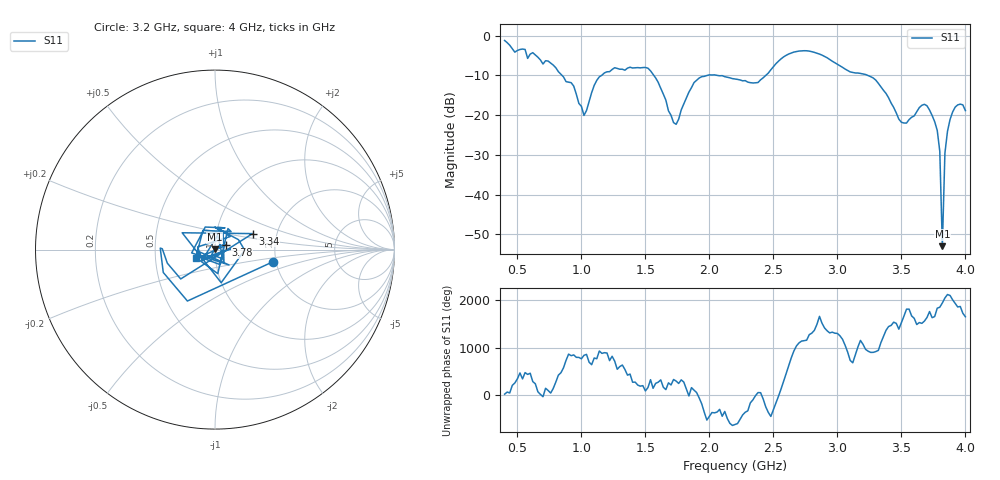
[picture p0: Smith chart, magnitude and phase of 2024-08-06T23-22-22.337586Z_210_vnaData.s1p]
!Created with skrf (http://scikit-rf.org).
# Hz S RI R 50.0
!freq ReS11 ImS11
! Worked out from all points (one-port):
!   181 points, 400 MHz to 4 GHz, reference 50 ohm
!   lowest |S11| = -53.0 dB at 3.82 GHz (marker M1), VSWR 1.00, Z = 49.9 + j0.168 ohm
!   |S11| at or under -10 dB: 1.566 GHz to 1.982 GHz (416.1 MHz wide, 23.5 % of centre); 2.063 GHz to 2.441 GHz (377.6 MHz wide, 16.8 % of centre); 3.238 GHz to end of sweep (the widest 3 of 4)
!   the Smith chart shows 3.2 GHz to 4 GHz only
!   S11 on the Smith chart (normalised r, x): 3.2 GHz: 1.92, -0.29; 3.34 GHz: 1.50, +0.28; 3.78 GHz: 1.13, +0.06; 4 GHz: 0.81, -0.07
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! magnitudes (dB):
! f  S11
! 400 MHz  -1.2
! 860 MHz  -10.4
! 940 MHz  -12.7
! 1.02 GHz  -20.1
! 1.14 GHz  -10.4
! 1.3 GHz  -8.4
! 1.52 GHz  -8.2
! 1.6 GHz  -11.7
! 1.72 GHz  -21.9
! 1.76 GHz  -21.0
! 1.92 GHz  -10.7
! 2.2 GHz  -10.9
! 2.38 GHz  -11.8
! 2.66 GHz  -4.1
! 2.86 GHz  -4.6
! 3.1 GHz  -9.1
! 3.2 GHz  -9.6
! 3.34 GHz  -12.9
! 3.5 GHz  -21.8
! 3.56 GHz  -21.1
! 3.68 GHz  -17.3
! 3.78 GHz  -23.8
! 3.8 GHz  -29.1
! 3.82 GHz  -53.0
! 3.84 GHz  -29.5
! 3.86 GHz  -24.1
! 3.92 GHz  -18.0
! 4 GHz  -18.8
